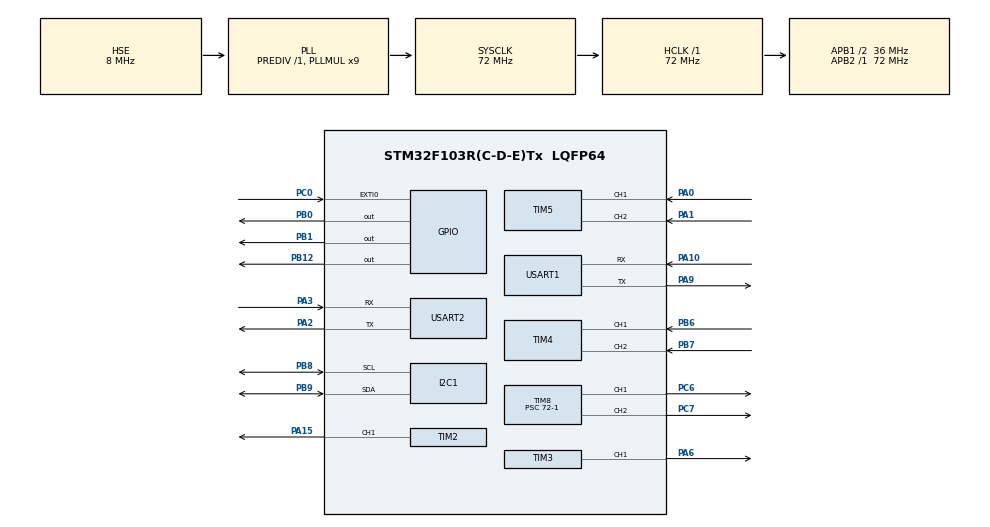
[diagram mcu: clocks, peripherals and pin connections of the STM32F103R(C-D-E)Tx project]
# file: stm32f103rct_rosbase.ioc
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Mcu.Family=STM32F1
Mcu.Name=STM32F103R(C-D-E)Tx
Mcu.Package=LQFP64
NVIC.PriorityGroup=NVIC_PRIORITYGROUP_4
NVIC.USART1_IRQn=true\:0\:0\:false\:false\:true\:true\:true\:true
PA0-WKUP.Signal=S_TIM5_CH1
PA1.Signal=S_TIM5_CH2
PA10.Mode=Asynchronous
PA10.Signal=USART1_RX
PA13.Mode=Serial_Wire
PA13.Signal=SYS_JTMS-SWDIO
PA14.Mode=Serial_Wire
PA14.Signal=SYS_JTCK-SWCLK
PA15.Signal=S_TIM2_CH1_ETR
PA2.Mode=Asynchronous
PA2.Signal=USART2_TX
PA3.Mode=Asynchronous
PA3.Signal=USART2_RX
PA6.Signal=S_TIM3_CH1
PA9.Mode=Asynchronous
PA9.Signal=USART1_TX
PB0.Signal=GPIO_Output
PB1.Signal=GPIO_Output
PB12.Signal=GPIO_Output
PB6.Signal=S_TIM4_CH1
PB7.Signal=S_TIM4_CH2
PB8.Mode=I2C
PB8.Signal=I2C1_SCL
PB9.Mode=I2C
PB9.Signal=I2C1_SDA
PC0.Signal=GPXTI0
PC6.Signal=S_TIM8_CH1
PC7.Signal=S_TIM8_CH2
PD0-OSC_IN.Mode=HSE-External-Oscillator
PD0-OSC_IN.Signal=RCC_OSC_IN
PD1-OSC_OUT.Mode=HSE-External-Oscillator
PD1-OSC_OUT.Signal=RCC_OSC_OUT
ProjectManager.HeapSize=0x200
ProjectManager.StackSize=0x400
ProjectManager.TargetToolchain=STM32CubeIDE
RCC.AHBFreq_Value=72000000
RCC.APB1CLKDivider=RCC_HCLK_DIV2
RCC.APB1Freq_Value=36000000
RCC.APB1TimFreq_Value=72000000
RCC.APB2Freq_Value=72000000
RCC.APB2TimFreq_Value=72000000
RCC.HCLKFreq_Value=72000000
RCC.PLLMUL=RCC_PLL_MUL9
RCC.PLLSourceVirtual=RCC_PLLSOURCE_HSE
RCC.SYSCLKFreq_VALUE=72000000
RCC.SYSCLKSource=RCC_SYSCLKSOURCE_PLLCLK
RCC.USBFreq_Value=72000000
SH.S_TIM2_CH1_ETR.0=TIM2_CH1,PWM Generation1 CH1
SH.S_TIM3_CH1.0=TIM3_CH1,PWM Generation1 CH1
SH.S_TIM4_CH1.0=TIM4_CH1,Encoder_Interface
SH.S_TIM4_CH2.0=TIM4_CH2,Encoder_Interface
SH.S_TIM5_CH1.0=TIM5_CH1,Encoder_Interface
SH.S_TIM5_CH2.0=TIM5_CH2,Encoder_Interface
SH.S_TIM8_CH1.0=TIM8_CH1,PWM Generation1 CH1
SH.S_TIM8_CH2.0=TIM8_CH2,PWM Generation2 CH2
TIM2.Channel-PWM\ Generation1\ CH1=TIM_CHANNEL_1
TIM3.AutoReloadPreload=TIM_AUTORELOAD_PRELOAD_DISABLE
TIM3.Channel-PWM\ Generation1\ CH1=TIM_CHANNEL_1
TIM3.Period=20000-1
TIM3.Prescaler=72-1
TIM4.EncoderMode=TIM_ENCODERMODE_TI12
TIM5.EncoderMode=TIM_ENCODERMODE_TI12
TIM8.Channel-PWM\ Generation1\ CH1=TIM_CHANNEL_1
TIM8.Channel-PWM\ Generation2\ CH2=TIM_CHANNEL_2
TIM8.Period=1000-1
TIM8.Prescaler=72-1
USART1.VirtualMode=VM_ASYNC
USART2.VirtualMode=VM_ASYNC
VP_TIM3_VS_ClockSourceINT.Mode=Internal
board=custom

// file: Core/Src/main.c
/* USER CODE BEGIN Header */
/**
  ******************************************************************************
  * @file           : main.c
  * @brief          : Main program body
  ******************************************************************************
  * @attention
  *
  * Copyright (c) 2024 STMicroelectronics.
  * All rights reserved.
  *
  * This software is licensed under terms that can be found in the LICENSE file
  * in the root directory of this software component.
  * If no LICENSE file comes with this software, it is provided AS-IS.
  *
  ******************************************************************************
  */
/* USER CODE END Header */
#include "main.h"

/* USER CODE BEGIN Includes */
#include <stdio.h>
#include <string.h>
#include "../../CMD/cmd.h"
#include "../../PID/pid.h"

/* USER CODE END Includes */

/* USER CODE BEGIN PTD */

extern car_move_t car_move;

/* USER CODE END PTD */

/* USER CODE BEGIN PD */

#define DEBUG 1
#if DEBUG
#define dprintf printf
#else
#define dprintf
#endif

/* USER CODE END PD */

I2C_HandleTypeDef hi2c1;

TIM_HandleTypeDef htim2;
TIM_HandleTypeDef htim3;
TIM_HandleTypeDef htim4;
TIM_HandleTypeDef htim5;
TIM_HandleTypeDef htim8;

UART_HandleTypeDef huart1;
UART_HandleTypeDef huart2;

/* USER CODE BEGIN PV */

uint8_t rx_data;
uint8_t tx_data;

char receivedData[256];
uint8_t data_index = 0;
volatile uint8_t data_received = 0;

int16_t cnt_a = 0;
int16_t cnt_b = 0;

/* USER CODE END PV */

void SystemClock_Config(void);
static void MX_GPIO_Init(void);
static void MX_USART1_UART_Init(void);
static void MX_TIM8_Init(void);
static void MX_TIM4_Init(void);
static void MX_TIM5_Init(void);
static void MX_I2C1_Init(void);
static void MX_USART2_UART_Init(void);
static void MX_TIM2_Init(void);
static void MX_TIM3_Init(void);

/* USER CODE BEGIN 0 */

int _write(int32_t file, uint8_t *ptr, int32_t len) {
    if( HAL_UART_Transmit(&huart1, ptr, len, len) == HAL_OK ) return len;
    else return 0;
}

void set_servo_angle(TIM_HandleTypeDef *htim, uint32_t channel, int angle)
{
    angle = angle + 90;

    // 각도?�� ?���? PWM ???�� ?��?��?�� 계산 (0?�� = 1ms, 180?�� = 2ms)
    uint32_t pulse_length = (angle * (2000 - 1000) / 180 + 1000);
    __HAL_TIM_SET_COMPARE(htim, channel, pulse_length);
}

void HAL_UART_RxCpltCallback(UART_HandleTypeDef *huart) {
    if (huart->Instance == USART1) {
        if (receivedData[data_index] == '\n') {
            receivedData[data_index++] = '\0'; // null terminate the string
            data_received = 1;
            data_index = 0;

        } else {

            data_index++;
        }

        HAL_UART_Receive_IT(&huart1, (uint8_t*)(receivedData + data_index), 1); // Receive next character
    }
}
/* USER CODE END 0 */

int main(void)
{

  /* MCU Configuration--------------------------------------------------------*/

  /* Reset of all peripherals, Initializes the Flash interface and the Systick. */
  HAL_Init();

  /* Configure the system clock */
  SystemClock_Config();

  /* Initialize all configured peripherals */
  MX_GPIO_Init();
  MX_USART1_UART_Init();
  MX_TIM8_Init();
  MX_TIM4_Init();
  MX_TIM5_Init();
  MX_I2C1_Init();
  MX_USART2_UART_Init();
  MX_TIM2_Init();
  MX_TIM3_Init();
  /* USER CODE BEGIN 2 */

  MX_USART1_UART_Init();

  HAL_UART_Receive_IT(&huart1, (uint8_t*)receivedData, 1);

  //HAL_GPIO_WritePin(GPIOB, GPIO_PIN_12, GPIO_PIN_RESET); // Motor dirver off
  HAL_GPIO_WritePin(GPIOB, GPIO_PIN_12, GPIO_PIN_SET); // Motor dirver on

  HAL_TIM_PWM_Start(&htim8, TIM_CHANNEL_1);
  TIM8->CCR1 = 00;  // LEFT REAR VIEW
  HAL_TIM_Encoder_Start(&htim4, TIM_CHANNEL_ALL); // LEFT ENCODER (+)
  HAL_GPIO_WritePin(GPIOB, GPIO_PIN_0, GPIO_PIN_RESET); // LEFT go
  //HAL_GPIO_WritePin(GPIOB, GPIO_PIN_0, GPIO_PIN_SET); // LEFT back

  HAL_TIM_PWM_Start(&htim8, TIM_CHANNEL_2);
  TIM8->CCR2 = 00;   // RIGHT READ VIEW
  HAL_TIM_Encoder_Start(&htim5, TIM_CHANNEL_ALL); // RIGHT ENCODER (-)
  HAL_GPIO_WritePin(GPIOB, GPIO_PIN_1, GPIO_PIN_SET); // RIGHT GO
//  HAL_GPIO_WritePin(GPIOB, GPIO_PIN_1, GPIO_PIN_SET); // RIGHT BACK

//
//  while(1){
//      cnt_a = (int16_t)TIM4->CNT;  //ENCODE LEFT
//      cnt_b = ( )TIM5->CNT;  //ENCODER RIGHT
//  }

  uint32_t pid_pre_tick = 0;
  uint32_t speed_report_tick = HAL_GetTick();

  pid_para_init();

  //pid_set_target_speed(0, 0);

  // INIT PWM SERVO MOTOR
  HAL_TIM_PWM_Start(&htim3, TIM_CHANNEL_1);
  set_servo_angle(&htim3, TIM_CHANNEL_1, 0);

  /* USER CODE END 2 */

  /* Infinite loop */
  /* USER CODE BEGIN WHILE */
  while (1)
  {

      if (data_received) {
          data_received = 0;

          //process_json(const char *json_string);
          process_json((const char *) receivedData );

          //HAL_UART_Transmit(&huart1, (uint8_t*)receivedData, strlen(receivedData), HAL_MAX_DELAY);

          HAL_UART_Receive_IT(&huart1, (uint8_t*)receivedData, 1); // Enable UART interrupt again
          // JSON CMD PARSING

      }

      if( HAL_GetTick() - pid_pre_tick > 10 )
      {

          pid_controller_a(10);
          pid_controller_b(10);
          pid_pre_tick = HAL_GetTick();

      }

      uint32_t delta = HAL_GetTick() - speed_report_tick;

      if( delta > 50 ) //50 ms, frequency (1/T)=f 1000ms/50ms = 20
      {
          get_report_speed(50);

          //printf("{ \"cmd\":\"carmove\", \"svel\": %d,\"avel\":%d }\n", (int)(car_move.cur_speed_vel), (int)(car_move.cur_angle_vel) );
          printf("{ \"cmd\":\"carmove\",\"mtl\": %d,\"mtr\":%d,\"dt\":%d}\n", (int)(car_move.sum_cnt_l), (int)(car_move.sum_cnt_r), (int)delta );

//          int angle = (int)(car_move.cur_angle_vel / 1000.0f);
//          set_servo_angle(&htim3, TIM_CHANNEL_1, angle);
//
          speed_report_tick = HAL_GetTick();

      }

    /* USER CODE END WHILE */

  }
}

void SystemClock_Config(void)
{
  RCC_OscInitTypeDef RCC_OscInitStruct = {0};
  RCC_ClkInitTypeDef RCC_ClkInitStruct = {0};

  /** Initializes the RCC Oscillators according to the specified parameters
  * in the RCC_OscInitTypeDef structure.
  */
  RCC_OscInitStruct.OscillatorType = RCC_OSCILLATORTYPE_HSE;
  RCC_OscInitStruct.HSEState = RCC_HSE_ON;
  RCC_OscInitStruct.HSEPredivValue = RCC_HSE_PREDIV_DIV1;
  RCC_OscInitStruct.HSIState = RCC_HSI_ON;
  RCC_OscInitStruct.PLL.PLLState = RCC_PLL_ON;
  RCC_OscInitStruct.PLL.PLLSource = RCC_PLLSOURCE_HSE;
  RCC_OscInitStruct.PLL.PLLMUL = RCC_PLL_MUL9;
  if (HAL_RCC_OscConfig(&RCC_OscInitStruct) != HAL_OK)
  {
    Error_Handler();
  }

  /** Initializes the CPU, AHB and APB buses clocks
  */
  RCC_ClkInitStruct.ClockType = RCC_CLOCKTYPE_HCLK|RCC_CLOCKTYPE_SYSCLK
                              |RCC_CLOCKTYPE_PCLK1|RCC_CLOCKTYPE_PCLK2;
  RCC_ClkInitStruct.SYSCLKSource = RCC_SYSCLKSOURCE_PLLCLK;
  RCC_ClkInitStruct.AHBCLKDivider = RCC_SYSCLK_DIV1;
  RCC_ClkInitStruct.APB1CLKDivider = RCC_HCLK_DIV2;
  RCC_ClkInitStruct.APB2CLKDivider = RCC_HCLK_DIV1;

  if (HAL_RCC_ClockConfig(&RCC_ClkInitStruct, FLASH_LATENCY_2) != HAL_OK)
  {
    Error_Handler();
  }
}

static void MX_I2C1_Init(void)
{

  hi2c1.Instance = I2C1;
  hi2c1.Init.ClockSpeed = 100000;
  hi2c1.Init.DutyCycle = I2C_DUTYCYCLE_2;
  hi2c1.Init.OwnAddress1 = 0;
  hi2c1.Init.AddressingMode = I2C_ADDRESSINGMODE_7BIT;
  hi2c1.Init.DualAddressMode = I2C_DUALADDRESS_DISABLE;
  hi2c1.Init.OwnAddress2 = 0;
  hi2c1.Init.GeneralCallMode = I2C_GENERALCALL_DISABLE;
  hi2c1.Init.NoStretchMode = I2C_NOSTRETCH_DISABLE;
  if (HAL_I2C_Init(&hi2c1) != HAL_OK)
  {
    Error_Handler();
  }

}

static void MX_TIM2_Init(void)
{

  TIM_MasterConfigTypeDef sMasterConfig = {0};
  TIM_OC_InitTypeDef sConfigOC = {0};

  htim2.Instance = TIM2;
  htim2.Init.Prescaler = 0;
  htim2.Init.CounterMode = TIM_COUNTERMODE_UP;
  htim2.Init.Period = 65535;
  htim2.Init.ClockDivision = TIM_CLOCKDIVISION_DIV1;
  htim2.Init.AutoReloadPreload = TIM_AUTORELOAD_PRELOAD_DISABLE;
  if (HAL_TIM_PWM_Init(&htim2) != HAL_OK)
  {
    Error_Handler();
  }
  sMasterConfig.MasterOutputTrigger = TIM_TRGO_RESET;
  sMasterConfig.MasterSlaveMode = TIM_MASTERSLAVEMODE_DISABLE;
  if (HAL_TIMEx_MasterConfigSynchronization(&htim2, &sMasterConfig) != HAL_OK)
  {
    Error_Handler();
  }
  sConfigOC.OCMode = TIM_OCMODE_PWM1;
  sConfigOC.Pulse = 0;
  sConfigOC.OCPolarity = TIM_OCPOLARITY_HIGH;
  sConfigOC.OCFastMode = TIM_OCFAST_DISABLE;
  if (HAL_TIM_PWM_ConfigChannel(&htim2, &sConfigOC, TIM_CHANNEL_1) != HAL_OK)
  {
    Error_Handler();
  }
  HAL_TIM_MspPostInit(&htim2);

}

static void MX_TIM3_Init(void)
{

  TIM_ClockConfigTypeDef sClockSourceConfig = {0};
  TIM_MasterConfigTypeDef sMasterConfig = {0};
  TIM_OC_InitTypeDef sConfigOC = {0};

  htim3.Instance = TIM3;
  htim3.Init.Prescaler = 72-1;
  htim3.Init.CounterMode = TIM_COUNTERMODE_UP;
  htim3.Init.Period = 20000-1;
  htim3.Init.ClockDivision = TIM_CLOCKDIVISION_DIV1;
  htim3.Init.AutoReloadPreload = TIM_AUTORELOAD_PRELOAD_DISABLE;
  if (HAL_TIM_Base_Init(&htim3) != HAL_OK)
  {
    Error_Handler();
  }
  sClockSourceConfig.ClockSource = TIM_CLOCKSOURCE_INTERNAL;
  if (HAL_TIM_ConfigClockSource(&htim3, &sClockSourceConfig) != HAL_OK)
  {
    Error_Handler();
  }
  if (HAL_TIM_PWM_Init(&htim3) != HAL_OK)
  {
    Error_Handler();
  }
  sMasterConfig.MasterOutputTrigger = TIM_TRGO_RESET;
  sMasterConfig.MasterSlaveMode = TIM_MASTERSLAVEMODE_DISABLE;
  if (HAL_TIMEx_MasterConfigSynchronization(&htim3, &sMasterConfig) != HAL_OK)
  {
    Error_Handler();
  }
  sConfigOC.OCMode = TIM_OCMODE_PWM1;
  sConfigOC.Pulse = 0;
  sConfigOC.OCPolarity = TIM_OCPOLARITY_HIGH;
  sConfigOC.OCFastMode = TIM_OCFAST_DISABLE;
  if (HAL_TIM_PWM_ConfigChannel(&htim3, &sConfigOC, TIM_CHANNEL_1) != HAL_OK)
  {
    Error_Handler();
  }
  HAL_TIM_MspPostInit(&htim3);

}

static void MX_TIM4_Init(void)
{

  TIM_Encoder_InitTypeDef sConfig = {0};
  TIM_MasterConfigTypeDef sMasterConfig = {0};

  htim4.Instance = TIM4;
  htim4.Init.Prescaler = 0;
  htim4.Init.CounterMode = TIM_COUNTERMODE_UP;
  htim4.Init.Period = 65535;
  htim4.Init.ClockDivision = TIM_CLOCKDIVISION_DIV1;
  htim4.Init.AutoReloadPreload = TIM_AUTORELOAD_PRELOAD_DISABLE;
  sConfig.EncoderMode = TIM_ENCODERMODE_TI12;
  sConfig.IC1Polarity = TIM_ICPOLARITY_RISING;
  sConfig.IC1Selection = TIM_ICSELECTION_DIRECTTI;
  sConfig.IC1Prescaler = TIM_ICPSC_DIV1;
  sConfig.IC1Filter = 0;
  sConfig.IC2Polarity = TIM_ICPOLARITY_RISING;
  sConfig.IC2Selection = TIM_ICSELECTION_DIRECTTI;
  sConfig.IC2Prescaler = TIM_ICPSC_DIV1;
  sConfig.IC2Filter = 0;
  if (HAL_TIM_Encoder_Init(&htim4, &sConfig) != HAL_OK)
  {
    Error_Handler();
  }
  sMasterConfig.MasterOutputTrigger = TIM_TRGO_RESET;
  sMasterConfig.MasterSlaveMode = TIM_MASTERSLAVEMODE_DISABLE;
  if (HAL_TIMEx_MasterConfigSynchronization(&htim4, &sMasterConfig) != HAL_OK)
  {
    Error_Handler();
  }

}

static void MX_TIM5_Init(void)
{

  TIM_Encoder_InitTypeDef sConfig = {0};
  TIM_MasterConfigTypeDef sMasterConfig = {0};

  htim5.Instance = TIM5;
  htim5.Init.Prescaler = 0;
  htim5.Init.CounterMode = TIM_COUNTERMODE_UP;
  htim5.Init.Period = 65535;
  htim5.Init.ClockDivision = TIM_CLOCKDIVISION_DIV1;
  htim5.Init.AutoReloadPreload = TIM_AUTORELOAD_PRELOAD_DISABLE;
  sConfig.EncoderMode = TIM_ENCODERMODE_TI12;
  sConfig.IC1Polarity = TIM_ICPOLARITY_RISING;
  sConfig.IC1Selection = TIM_ICSELECTION_DIRECTTI;
  sConfig.IC1Prescaler = TIM_ICPSC_DIV1;
  sConfig.IC1Filter = 0;
  sConfig.IC2Polarity = TIM_ICPOLARITY_RISING;
  sConfig.IC2Selection = TIM_ICSELECTION_DIRECTTI;
  sConfig.IC2Prescaler = TIM_ICPSC_DIV1;
  sConfig.IC2Filter = 0;
  if (HAL_TIM_Encoder_Init(&htim5, &sConfig) != HAL_OK)
  {
    Error_Handler();
  }
  sMasterConfig.MasterOutputTrigger = TIM_TRGO_RESET;
  sMasterConfig.MasterSlaveMode = TIM_MASTERSLAVEMODE_DISABLE;
  if (HAL_TIMEx_MasterConfigSynchronization(&htim5, &sMasterConfig) != HAL_OK)
  {
    Error_Handler();
  }

}

static void MX_TIM8_Init(void)
{

  TIM_MasterConfigTypeDef sMasterConfig = {0};
  TIM_OC_InitTypeDef sConfigOC = {0};
  TIM_BreakDeadTimeConfigTypeDef sBreakDeadTimeConfig = {0};

  htim8.Instance = TIM8;
  htim8.Init.Prescaler = 72-1;
  htim8.Init.CounterMode = TIM_COUNTERMODE_UP;
  htim8.Init.Period = 1000-1;
  htim8.Init.ClockDivision = TIM_CLOCKDIVISION_DIV1;
  htim8.Init.RepetitionCounter = 0;
  htim8.Init.AutoReloadPreload = TIM_AUTORELOAD_PRELOAD_DISABLE;
  if (HAL_TIM_PWM_Init(&htim8) != HAL_OK)
  {
    Error_Handler();
  }
  sMasterConfig.MasterOutputTrigger = TIM_TRGO_RESET;
  sMasterConfig.MasterSlaveMode = TIM_MASTERSLAVEMODE_DISABLE;
  if (HAL_TIMEx_MasterConfigSynchronization(&htim8, &sMasterConfig) != HAL_OK)
  {
    Error_Handler();
  }
  sConfigOC.OCMode = TIM_OCMODE_PWM1;
  sConfigOC.Pulse = 0;
  sConfigOC.OCPolarity = TIM_OCPOLARITY_HIGH;
  sConfigOC.OCNPolarity = TIM_OCNPOLARITY_HIGH;
  sConfigOC.OCFastMode = TIM_OCFAST_DISABLE;
  sConfigOC.OCIdleState = TIM_OCIDLESTATE_RESET;
  sConfigOC.OCNIdleState = TIM_OCNIDLESTATE_RESET;
  if (HAL_TIM_PWM_ConfigChannel(&htim8, &sConfigOC, TIM_CHANNEL_1) != HAL_OK)
  {
    Error_Handler();
  }
  if (HAL_TIM_PWM_ConfigChannel(&htim8, &sConfigOC, TIM_CHANNEL_2) != HAL_OK)
  {
    Error_Handler();
  }
  sBreakDeadTimeConfig.OffStateRunMode = TIM_OSSR_DISABLE;
  sBreakDeadTimeConfig.OffStateIDLEMode = TIM_OSSI_DISABLE;
  sBreakDeadTimeConfig.LockLevel = TIM_LOCKLEVEL_OFF;
  sBreakDeadTimeConfig.DeadTime = 0;
  sBreakDeadTimeConfig.BreakState = TIM_BREAK_DISABLE;
  sBreakDeadTimeConfig.BreakPolarity = TIM_BREAKPOLARITY_HIGH;
  sBreakDeadTimeConfig.AutomaticOutput = TIM_AUTOMATICOUTPUT_DISABLE;
  if (HAL_TIMEx_ConfigBreakDeadTime(&htim8, &sBreakDeadTimeConfig) != HAL_OK)
  {
    Error_Handler();
  }
  HAL_TIM_MspPostInit(&htim8);

}

static void MX_USART1_UART_Init(void)
{

  huart1.Instance = USART1;
  huart1.Init.BaudRate = 115200;
  huart1.Init.WordLength = UART_WORDLENGTH_8B;
  huart1.Init.StopBits = UART_STOPBITS_1;
  huart1.Init.Parity = UART_PARITY_NONE;
  huart1.Init.Mode = UART_MODE_TX_RX;
  huart1.Init.HwFlowCtl = UART_HWCONTROL_NONE;
  huart1.Init.OverSampling = UART_OVERSAMPLING_16;
  if (HAL_UART_Init(&huart1) != HAL_OK)
  {
    Error_Handler();
  }

}

static void MX_USART2_UART_Init(void)
{

  huart2.Instance = USART2;
  huart2.Init.BaudRate = 115200;
  huart2.Init.WordLength = UART_WORDLENGTH_8B;
  huart2.Init.StopBits = UART_STOPBITS_1;
  huart2.Init.Parity = UART_PARITY_NONE;
  huart2.Init.Mode = UART_MODE_TX_RX;
  huart2.Init.HwFlowCtl = UART_HWCONTROL_NONE;
  huart2.Init.OverSampling = UART_OVERSAMPLING_16;
  if (HAL_UART_Init(&huart2) != HAL_OK)
  {
    Error_Handler();
  }

}

static void MX_GPIO_Init(void)
{
  GPIO_InitTypeDef GPIO_InitStruct = {0};

  /* GPIO Ports Clock Enable */
  __HAL_RCC_GPIOD_CLK_ENABLE();
  __HAL_RCC_GPIOC_CLK_ENABLE();
  __HAL_RCC_GPIOA_CLK_ENABLE();
  __HAL_RCC_GPIOB_CLK_ENABLE();

  /*Configure GPIO pin Output Level */
  HAL_GPIO_WritePin(GPIOB, GPIO_PIN_0|GPIO_PIN_1|GPIO_PIN_12, GPIO_PIN_RESET);

  /*Configure GPIO pin : PC0 */
  GPIO_InitStruct.Pin = GPIO_PIN_0;
  GPIO_InitStruct.Mode = GPIO_MODE_IT_RISING;
  GPIO_InitStruct.Pull = GPIO_NOPULL;
  HAL_GPIO_Init(GPIOC, &GPIO_InitStruct);

  /*Configure GPIO pins : PB0 PB1 PB12 */
  GPIO_InitStruct.Pin = GPIO_PIN_0|GPIO_PIN_1|GPIO_PIN_12;
  GPIO_InitStruct.Mode = GPIO_MODE_OUTPUT_PP;
  GPIO_InitStruct.Pull = GPIO_NOPULL;
  GPIO_InitStruct.Speed = GPIO_SPEED_FREQ_LOW;
  HAL_GPIO_Init(GPIOB, &GPIO_InitStruct);

}

void Error_Handler(void)
{
  __disable_irq();
  while (1)
  {
  }
}
